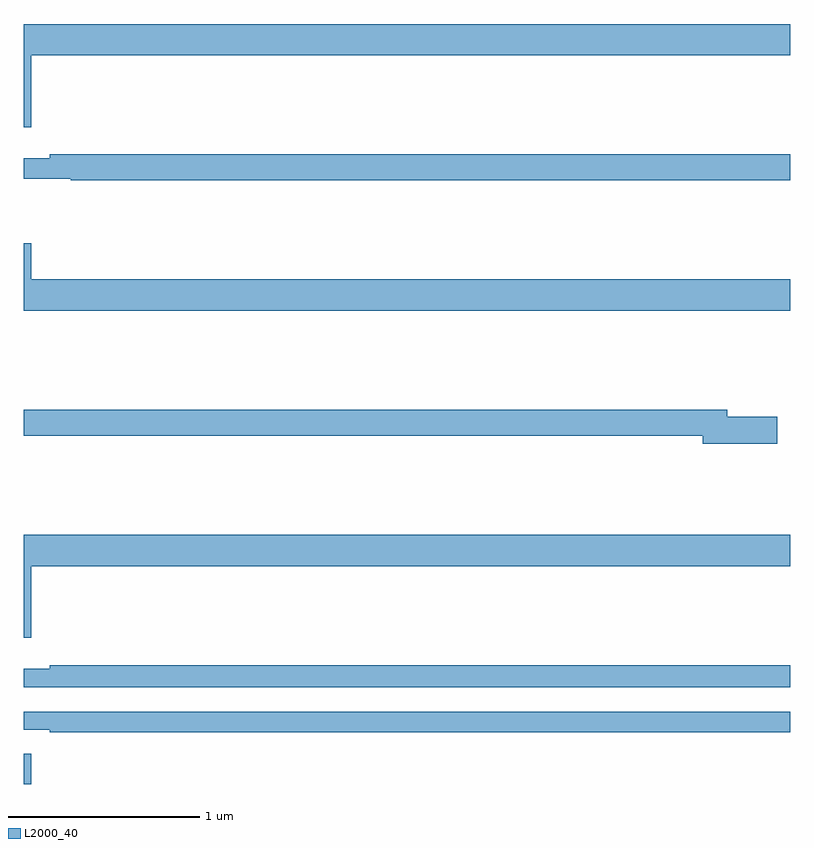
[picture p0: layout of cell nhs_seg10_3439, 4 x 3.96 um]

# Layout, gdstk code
import gdstk
lib = gdstk.Library(unit=1e-6, precision=1e-09)
def R(c, l, rs):  # rectangles x0, y0, x1, y1
    for r in rs: c.add(gdstk.rectangle(r[:2], r[2:], *l))
def P(c, l, *ps):  # polygons
    for p in ps: c.add(gdstk.Polygon(p, *l))
L2000_40 = (2000, 40)

nhs_seg10_3439 = lib.new_cell('nhs_seg10_3439')
R(nhs_seg10_3439, L2000_40, [(297,1312.5,297.04,1312.657)])
P(nhs_seg10_3439, L2000_40, [(297.04,1316.3),(301,1316.3),(301,1316.464),(297,1316.464),(297,1315.926),(297.04,1315.926)],
  [(301,1315.784),(297.136,1315.784),(297.136,1315.765),(297,1315.765),(297,1315.656),(297.245,1315.656),(297.245,1315.648),(301,1315.648)],
  [(301,1315.132),(297.04,1315.132),(297.04,1315.321),(297,1315.321),(297,1314.968),(301,1314.968)],
  [(300.931,1314.416),(300.67,1314.416),(300.67,1314.452),(297,1314.452),(297,1314.316),(300.542,1314.316),(300.542,1314.274),(300.931,1314.274)],
  [(297.04,1313.636),(301,1313.636),(301,1313.8),(297,1313.8),(297,1313.262),(297.04,1313.262)],
  [(301,1313.12),(297.136,1313.12),(297.136,1313.101),(297,1313.101),(297,1313.004),(301,1313.004)],
  [(301,1312.878),(297,1312.878),(297,1312.782),(297.136,1312.782),(297.136,1312.77),(301,1312.77)])

lib.write_gds('nhs_seg10_3439.gds')
